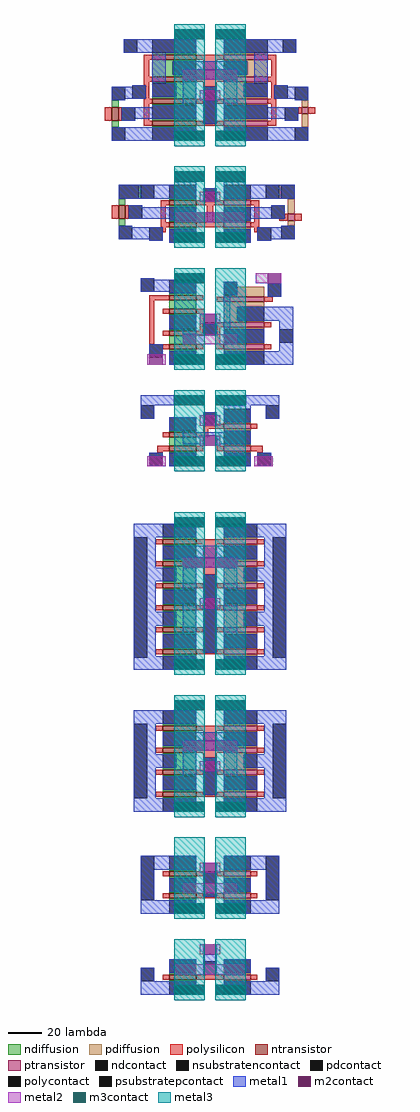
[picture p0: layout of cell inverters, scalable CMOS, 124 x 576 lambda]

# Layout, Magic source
magic
tech scmos
use l_inv_staticizer l_inv_staticizer_0
transform 1 0 22 0 1 455
box -64 59 64 131
use m_inv_staticizer m_inv_staticizer_0
transform 1 0 22 0 1 389
box -59 65 55 113
use m_inv_rhi m_inv_rhi_0
transform 1 0 22 0 1 378
box -42 4 50 64
use s_inv_rhi s_inv_rhi_0
transform 1 0 22 0 1 341
box -42 -19 42 29
use h_inv h_inv_0
transform 1 0 22 0 1 229
box -46 -27 46 69
use l_inv l_inv_0
transform 1 0 22 0 1 -348
box -52 466 52 538
use m_inv m_inv_0
transform 1 0 22 0 1 -473
box -42 531 42 579
use s_inv s_inv_0
transform 1 0 22 0 1 -413
box -42 423 42 459
<< end >>

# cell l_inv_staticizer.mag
magic
tech scmos
<< ndiffusion >>
rect -34 113 -8 114
rect -34 109 -8 110
rect -34 101 -22 109
rect -34 100 -8 101
rect -34 96 -8 97
rect -20 88 -8 96
rect -34 87 -8 88
rect -58 82 -54 86
rect -34 83 -8 84
rect -34 74 -8 75
rect -58 70 -54 74
rect -34 70 -8 71
<< pdiffusion >>
rect 8 113 34 114
rect 8 109 34 110
rect 22 101 34 109
rect 8 100 34 101
rect 8 96 34 97
rect 8 88 20 96
rect 8 87 34 88
rect 8 83 34 84
rect 8 74 34 75
rect 54 82 58 86
rect 8 70 34 71
rect 54 70 58 78
<< ntransistor >>
rect -34 110 -8 113
rect -34 97 -8 100
rect -34 84 -8 87
rect -58 74 -54 82
rect -34 71 -8 74
<< ptransistor >>
rect 8 110 34 113
rect 8 97 34 100
rect 8 84 34 87
rect 54 78 58 82
rect 8 71 34 74
<< polysilicon >>
rect -39 110 -34 113
rect -8 110 8 113
rect 34 110 39 113
rect -39 100 -36 110
rect -4 100 4 110
rect 36 100 39 110
rect -39 97 -34 100
rect -8 97 8 100
rect 34 97 39 100
rect -39 95 -36 97
rect -38 87 -36 95
rect -4 94 4 97
rect -39 84 -34 87
rect -8 84 -4 87
rect -62 74 -58 82
rect -54 74 -52 82
rect -39 74 -36 84
rect -39 71 -34 74
rect -8 72 -4 74
rect 36 95 39 97
rect 36 87 38 95
rect 4 84 8 87
rect 34 84 39 87
rect 36 74 39 84
rect 52 78 54 82
rect 58 78 62 82
rect 4 72 8 74
rect -8 71 8 72
rect 34 71 39 74
<< ndcontact >>
rect -34 114 -8 122
rect -22 101 -8 109
rect -58 86 -50 94
rect -34 88 -20 96
rect -34 75 -8 83
rect -58 62 -50 70
rect -34 62 -8 70
<< pdcontact >>
rect 8 114 34 122
rect 8 101 22 109
rect 20 88 34 96
rect 50 86 58 94
rect 8 75 34 83
rect 8 62 34 70
rect 50 62 58 70
<< psubstratepcontact >>
rect -51 114 -43 122
<< nsubstratencontact >>
rect 43 114 51 122
<< polycontact >>
rect -46 87 -38 95
rect -52 74 -44 82
rect -4 72 4 94
rect 38 87 46 95
rect 44 74 52 82
<< metal1 >>
rect -51 114 -8 122
rect 8 114 51 122
rect -34 96 -26 114
rect -22 104 22 109
rect -22 101 -16 104
rect 16 101 22 104
rect -46 94 -38 95
rect -58 87 -38 94
rect -34 88 -20 96
rect -58 86 -50 87
rect -16 83 -8 98
rect -34 82 -8 83
rect -52 75 -8 82
rect -4 92 4 94
rect -52 74 -44 75
rect -4 72 4 86
rect 8 83 16 98
rect 26 96 34 114
rect 20 88 34 96
rect 38 94 46 95
rect 38 87 58 94
rect 50 86 58 87
rect 8 82 34 83
rect 8 75 52 82
rect 44 74 52 75
rect -58 68 -8 70
rect 8 68 58 70
rect -58 62 -21 68
rect 21 62 58 68
<< m2contact >>
rect -21 122 -3 128
rect 3 122 21 128
rect -16 98 16 104
rect -4 86 4 92
rect -21 62 -3 68
rect 3 62 21 68
<< metal2 >>
rect -16 98 16 104
rect -6 86 6 92
<< m3contact >>
rect -21 122 -3 128
rect 3 122 21 128
rect -21 62 -3 68
rect 3 62 21 68
<< metal3 >>
rect -21 59 -3 131
rect 3 59 21 131
<< labels >>
rlabel ndcontact -16 105 -16 105 1 x
rlabel ndcontact -26 79 -26 79 1 x
rlabel ndcontact -26 66 -26 66 1 GND!
rlabel ndcontact -26 92 -26 92 5 GND!
rlabel ndcontact -26 118 -26 118 5 GND!
rlabel metal1 -54 66 -54 66 1 GND!
rlabel metal1 -42 91 -42 91 1 _x
rlabel pdcontact 16 105 16 105 1 x
rlabel pdcontact 26 79 26 79 1 x
rlabel pdcontact 26 66 26 66 1 Vdd!
rlabel pdcontact 26 92 26 92 5 Vdd!
rlabel pdcontact 26 118 26 118 5 Vdd!
rlabel metal1 54 66 54 66 1 Vdd!
rlabel metal1 42 91 42 91 1 _x
rlabel space -64 61 -22 123 7 ^n
rlabel space 22 61 64 123 3 ^p
rlabel metal1 0 83 0 83 1 _x
rlabel metal2 -12 101 -12 101 1 x
rlabel metal2 12 101 12 101 1 x
rlabel metal2 -6 86 -6 92 3 _x
rlabel metal2 6 86 6 92 7 _x
rlabel metal1 47 118 47 118 1 Vdd!
rlabel metal1 -47 118 -47 118 1 GND!
<< end >>

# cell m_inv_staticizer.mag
magic
tech scmos
<< ndiffusion >>
rect -42 94 -41 102
rect -54 90 -50 94
rect -24 93 -8 94
rect -54 78 -50 82
rect -24 89 -8 90
rect -24 80 -8 81
rect -24 76 -8 77
<< pdiffusion >>
rect 41 94 42 102
rect 8 93 24 94
rect 8 89 24 90
rect 8 80 24 81
rect 46 85 50 94
rect 46 78 50 81
rect 8 76 24 77
<< ntransistor >>
rect -24 90 -8 93
rect -54 82 -50 90
rect -24 77 -8 80
<< ptransistor >>
rect 8 90 24 93
rect 46 81 50 85
rect 8 77 24 80
<< polysilicon >>
rect -29 90 -24 93
rect -8 92 -4 93
rect 4 92 8 93
rect -8 90 8 92
rect 24 90 29 93
rect -58 82 -54 90
rect -50 82 -48 90
rect -29 80 -26 90
rect -2 80 2 90
rect 26 80 29 90
rect 44 82 46 85
rect 41 81 46 82
rect 50 81 54 85
rect -29 77 -24 80
rect -8 77 8 80
rect 24 77 29 80
rect -28 74 -26 77
rect 26 74 28 77
<< ndcontact >>
rect -54 94 -42 102
rect -24 94 -8 102
rect -24 81 -8 89
rect -54 70 -46 78
rect -24 68 -8 76
<< pdcontact >>
rect 8 94 24 102
rect 42 94 50 102
rect 8 81 24 89
rect 8 68 24 76
rect 42 70 50 78
<< psubstratepcontact >>
rect -41 94 -33 102
<< nsubstratencontact >>
rect 33 94 41 102
<< polycontact >>
rect -4 92 4 100
rect -48 82 -40 90
rect 36 82 44 90
rect -36 69 -28 77
rect 28 69 36 77
<< metal1 >>
rect -21 102 -8 104
rect -54 94 -8 102
rect 8 102 21 104
rect -4 98 4 100
rect 8 94 50 102
rect -48 89 -40 90
rect 36 89 44 90
rect -48 86 -8 89
rect 8 86 44 89
rect -48 82 -21 86
rect -24 81 -21 82
rect 21 82 44 86
rect 21 81 24 82
rect -54 77 -46 78
rect 42 77 50 78
rect -54 70 -28 77
rect -36 69 -28 70
rect -24 74 -8 76
rect 8 74 24 76
rect -24 68 -21 74
rect 21 68 24 74
rect 28 70 50 77
rect 28 69 36 70
<< m2contact >>
rect -21 104 -3 110
rect 3 104 21 110
rect -4 92 4 98
rect -21 80 21 86
rect -21 68 -3 74
rect 3 68 21 74
<< metal2 >>
rect -6 92 6 98
rect -21 80 21 86
<< m3contact >>
rect -21 104 -3 110
rect 3 104 21 110
rect -21 68 -3 74
rect 3 68 21 74
<< metal3 >>
rect -21 65 -3 113
rect 3 65 21 113
<< labels >>
rlabel ndcontact -12 72 -12 72 1 GND!
rlabel pdcontact 12 72 12 72 1 Vdd!
rlabel pdcontact 12 98 12 98 5 Vdd!
rlabel ndcontact -12 98 -12 98 5 GND!
rlabel metal1 32 73 32 73 5 _x
rlabel metal1 -32 73 -32 73 5 _x
rlabel metal1 -37 98 -37 98 1 GND!
rlabel metal1 -48 98 -48 98 1 GND!
rlabel metal1 46 98 46 98 5 Vdd!
rlabel metal1 37 98 37 98 1 Vdd!
rlabel space -59 67 -24 103 7 ^n
rlabel metal2 0 80 0 86 1 x
rlabel metal2 0 92 0 98 1 _x
rlabel space 24 67 55 103 3 ^p
<< end >>

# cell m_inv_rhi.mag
magic
tech scmos
<< ndiffusion >>
rect -24 48 -8 49
rect -24 40 -8 45
rect -24 36 -8 37
rect -24 27 -8 28
rect -24 19 -8 24
rect -24 15 -8 16
<< pdiffusion >>
rect 16 48 32 53
rect 8 47 32 48
rect 8 41 32 44
rect 8 33 16 41
rect 8 32 32 33
rect 8 28 32 29
rect 8 19 32 20
rect 8 15 32 16
<< ntransistor >>
rect -24 45 -8 48
rect -24 37 -8 40
rect -24 24 -8 27
rect -24 16 -8 19
<< ptransistor >>
rect 8 44 32 47
rect 8 29 32 32
rect 8 16 32 19
<< polysilicon >>
rect -36 45 -24 48
rect -8 45 -4 48
rect -36 19 -33 45
rect 4 44 8 47
rect 32 44 37 47
rect -28 37 -24 40
rect -8 37 -3 40
rect -6 32 -3 37
rect -6 27 -4 32
rect -28 24 -24 27
rect -8 24 -4 27
rect 4 29 8 32
rect 32 29 36 32
rect 4 24 6 29
rect 3 19 6 24
rect -28 16 -24 19
rect -8 16 -4 19
rect 3 16 8 19
rect 32 16 36 19
<< ndcontact >>
rect -24 49 -8 57
rect -24 28 -8 36
rect -24 7 -8 15
<< pdcontact >>
rect 8 48 16 56
rect 16 33 32 41
rect 8 20 32 28
rect 8 7 32 15
<< psubstratepcontact >>
rect -41 50 -33 58
<< nsubstratencontact >>
rect 41 20 49 28
<< polycontact >>
rect 34 47 42 55
rect -4 24 4 32
rect -36 11 -28 19
<< metal1 >>
rect -41 57 -33 58
rect -41 55 -21 57
rect -41 50 -8 55
rect -24 49 -8 50
rect 8 48 16 56
rect -24 28 -8 36
rect -16 25 -8 28
rect -4 24 4 31
rect 8 28 12 48
rect 34 47 42 55
rect 16 33 49 41
rect 8 25 32 28
rect 16 20 32 25
rect -36 13 -28 19
rect 41 15 49 33
rect -24 13 -8 15
rect 8 13 49 15
rect -24 7 -21 13
rect 21 7 49 13
<< m2contact >>
rect -21 55 -3 61
rect 34 55 42 61
rect -16 19 -8 25
rect -4 31 4 37
rect 8 19 16 25
rect -36 7 -28 13
rect -21 7 -3 13
rect 3 7 21 13
<< metal2 >>
rect 27 55 42 61
rect -6 31 6 37
rect -16 19 16 25
rect -37 7 -26 13
<< m3contact >>
rect -21 55 -3 61
rect -21 7 -3 13
rect 3 7 21 13
<< metal3 >>
rect -21 4 -3 64
rect 3 4 21 64
<< labels >>
rlabel ndcontact -12 53 -12 53 5 GND!
rlabel ndcontact -12 11 -12 11 1 GND!
rlabel pdcontact 11 11 11 11 1 Vdd!
rlabel polysilicon -25 17 -25 17 3 _SReset!
rlabel polysilicon -25 47 -25 47 3 _SReset!
rlabel pdcontact 12 52 12 52 5 x
rlabel polysilicon 33 45 33 45 1 _PReset!
rlabel metal2 12 22 12 22 1 x
rlabel metal2 -12 22 -12 22 1 x
rlabel metal2 -6 31 -6 37 3 a
rlabel metal2 6 31 6 37 7 a
rlabel pdcontact 24 37 24 37 5 Vdd!
rlabel metal1 0 28 0 28 1 a
rlabel metal2 -32 10 -32 10 3 _SReset!
rlabel metal2 -26 7 -26 13 3 ^n
rlabel metal1 -37 54 -37 54 3 GND!
rlabel space -42 6 -24 59 7 ^n
rlabel space 31 6 50 37 3 ^p
rlabel metal1 45 24 45 24 7 Vdd!
rlabel metal2 38 58 38 58 6 _PReset!
<< end >>

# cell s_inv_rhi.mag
magic
tech scmos
<< ndiffusion >>
rect -24 4 -8 5
rect -24 -4 -8 1
rect -24 -8 -8 -7
<< pdiffusion >>
rect 8 9 24 10
rect 8 5 24 6
rect 8 -4 24 -3
rect 8 -8 24 -7
<< ntransistor >>
rect -24 1 -8 4
rect -24 -7 -8 -4
<< ptransistor >>
rect 8 6 24 9
rect 8 -7 24 -4
<< polysilicon >>
rect 4 8 8 9
rect -4 6 8 8
rect 24 6 28 9
rect -4 4 -1 6
rect -28 1 -24 4
rect -8 1 -1 4
rect -31 -7 -24 -4
rect -8 -7 -4 -4
rect 4 -7 8 -4
rect 24 -7 31 -4
rect -31 -8 -28 -7
rect 28 -8 31 -7
<< ndcontact >>
rect -24 5 -8 13
rect -24 -16 -8 -8
<< pdcontact >>
rect 8 10 24 18
rect 8 -3 24 5
rect 8 -16 24 -8
<< psubstratepcontact >>
rect -41 12 -33 20
<< nsubstratencontact >>
rect 33 12 41 20
<< polycontact >>
rect -4 8 4 16
rect -36 -16 -28 -8
rect 28 -16 36 -8
<< metal1 >>
rect -41 20 -21 26
rect 21 20 41 26
rect -41 12 -33 20
rect -4 14 4 16
rect -24 5 -8 13
rect 8 10 24 20
rect 33 12 41 20
rect -16 4 -8 5
rect 8 4 24 5
rect -16 2 24 4
rect -16 -3 -4 2
rect 4 -3 24 2
rect -36 -10 -28 -8
rect -24 -10 -8 -8
rect 8 -10 24 -8
rect -24 -16 -21 -10
rect 21 -16 24 -10
rect 28 -10 36 -8
<< m2contact >>
rect -21 20 -3 26
rect 3 20 21 26
rect -4 8 4 14
rect -4 -4 4 2
rect -36 -16 -28 -10
rect -21 -16 -3 -10
rect 3 -16 21 -10
rect 28 -16 36 -10
<< metal2 >>
rect -6 8 6 14
rect -6 -4 6 2
rect -37 -16 -26 -10
rect 26 -16 37 -10
<< m3contact >>
rect -21 20 -3 26
rect 3 20 21 26
rect -21 -16 -3 -10
rect 3 -16 21 -10
<< metal3 >>
rect -21 -19 -3 29
rect 3 -19 21 29
<< labels >>
rlabel metal2 6 8 6 14 7 a
rlabel metal2 -6 8 -6 14 3 a
rlabel ndcontact -12 9 -12 9 4 x
rlabel pdcontact 12 -12 12 -12 5 Vdd!
rlabel polysilicon 25 -6 25 -6 1 _PReset!
rlabel pdcontact 12 1 12 1 7 x
rlabel pdcontact 12 14 12 14 5 Vdd!
rlabel ndcontact -12 -12 -12 -12 5 GND!
rlabel polysilicon -25 -6 -25 -6 3 _SReset!
rlabel metal2 6 -4 6 2 7 x
rlabel metal2 -6 -4 -6 2 3 x
rlabel metal2 -31 -13 -31 -13 1 _SReset!
rlabel metal2 31 -13 31 -13 7 _PReset!
rlabel metal2 -26 -16 -26 -10 3 ^n
rlabel metal2 26 -16 26 -10 7 ^p
rlabel metal1 -37 16 -37 16 3 GND!
rlabel metal1 37 16 37 16 7 Vdd!
rlabel space 24 -17 42 27 3 ^p
rlabel space -42 -17 -24 27 7 ^n
<< end >>

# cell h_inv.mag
magic
tech scmos
<< ndiffusion >>
rect -28 53 -8 54
rect -28 49 -8 50
rect -28 40 -8 41
rect -28 36 -8 37
rect -20 28 -8 36
rect -28 27 -8 28
rect -28 23 -8 24
rect -28 14 -8 15
rect -28 10 -8 11
rect -20 2 -8 10
rect -28 1 -8 2
rect -28 -3 -8 -2
rect -28 -12 -8 -11
rect -28 -16 -8 -15
<< pdiffusion >>
rect 8 53 28 54
rect 8 49 28 50
rect 8 40 28 41
rect 8 36 28 37
rect 8 28 20 36
rect 8 27 28 28
rect 8 23 28 24
rect 8 14 28 15
rect 8 10 28 11
rect 8 2 20 10
rect 8 1 28 2
rect 8 -3 28 -2
rect 8 -12 28 -11
rect 8 -16 28 -15
<< ntransistor >>
rect -28 50 -8 53
rect -28 37 -8 40
rect -28 24 -8 27
rect -28 11 -8 14
rect -28 -2 -8 1
rect -28 -15 -8 -12
<< ptransistor >>
rect 8 50 28 53
rect 8 37 28 40
rect 8 24 28 27
rect 8 11 28 14
rect 8 -2 28 1
rect 8 -15 28 -12
<< polysilicon >>
rect -32 50 -28 53
rect -8 50 8 53
rect 28 50 32 53
rect -4 40 4 50
rect -32 37 -28 40
rect -8 37 8 40
rect 28 37 32 40
rect -4 32 4 37
rect -32 24 -28 27
rect -8 24 -4 27
rect -32 11 -28 14
rect -8 11 -4 14
rect -32 -2 -28 1
rect -8 -2 -4 1
rect -32 -15 -28 -12
rect -8 -14 -4 -12
rect 4 24 8 27
rect 28 24 32 27
rect 4 11 8 14
rect 28 11 32 14
rect 4 -2 8 1
rect 28 -2 32 1
rect 4 -14 8 -12
rect -8 -15 8 -14
rect 28 -15 32 -12
<< ndcontact >>
rect -28 54 -8 62
rect -28 41 -8 49
rect -28 28 -20 36
rect -28 15 -8 23
rect -28 2 -20 10
rect -28 -11 -8 -3
rect -28 -24 -8 -16
<< pdcontact >>
rect 8 54 28 62
rect 8 41 28 49
rect 20 28 28 36
rect 8 15 28 23
rect 20 2 28 10
rect 8 -11 28 -3
rect 8 -24 28 -16
<< psubstratepcontact >>
rect -45 -17 -37 54
<< nsubstratencontact >>
rect 37 -17 45 54
<< polycontact >>
rect -4 -14 4 32
<< metal1 >>
rect -45 60 -21 62
rect 21 60 45 62
rect -45 54 -8 60
rect 8 54 45 60
rect -45 36 -32 54
rect -28 42 28 49
rect -28 41 -16 42
rect 16 41 28 42
rect 32 36 45 54
rect -45 28 -20 36
rect -45 10 -32 28
rect -16 23 -8 36
rect -28 15 -8 23
rect -45 2 -20 10
rect -45 -16 -32 2
rect -16 -3 -8 15
rect -28 -11 -8 -3
rect -4 18 4 32
rect -4 -14 4 12
rect 8 23 16 36
rect 20 28 45 36
rect 8 15 28 23
rect 8 -3 16 15
rect 32 10 45 28
rect 20 2 45 10
rect 8 -11 28 -3
rect 32 -16 45 2
rect -45 -18 -8 -16
rect 8 -18 45 -16
rect -45 -24 -21 -18
rect 21 -24 45 -18
<< m2contact >>
rect -21 60 -3 66
rect 3 60 21 66
rect -16 36 16 42
rect -4 12 4 18
rect -21 -24 -3 -18
rect 3 -24 21 -18
<< metal2 >>
rect -16 36 16 42
rect -6 12 6 18
<< m3contact >>
rect -21 60 -3 66
rect 3 60 21 66
rect -21 -24 -3 -18
rect 3 -24 21 -18
<< metal3 >>
rect -21 -27 -3 69
rect 3 -27 21 69
<< labels >>
rlabel ndcontact -16 19 -16 19 1 x
rlabel ndcontact -16 -7 -16 -7 1 x
rlabel ndcontact -16 45 -16 45 1 x
rlabel pdcontact 16 19 16 19 1 x
rlabel pdcontact 16 -7 16 -7 1 x
rlabel pdcontact 16 45 16 45 1 x
rlabel metal2 -16 36 -16 42 3 x
rlabel metal2 16 36 16 42 7 x
rlabel metal2 6 12 6 18 7 a
rlabel metal2 -6 12 -6 18 3 a
rlabel metal1 0 5 0 5 1 a
rlabel ndcontact -24 6 -24 6 5 GND!
rlabel ndcontact -24 32 -24 32 5 GND!
rlabel ndcontact -24 58 -24 58 5 GND!
rlabel ndcontact -24 -20 -24 -20 1 GND!
rlabel metal1 -41 20 -41 20 3 GND!
rlabel space -46 -25 -27 63 7 ^n
rlabel pdcontact 24 -20 24 -20 1 Vdd!
rlabel pdcontact 24 6 24 6 5 Vdd!
rlabel pdcontact 24 32 24 32 5 Vdd!
rlabel pdcontact 24 58 24 58 5 Vdd!
rlabel metal1 41 20 41 20 7 Vdd!
rlabel space 27 -25 46 63 3 ^p
<< end >>

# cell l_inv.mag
magic
tech scmos
<< ndiffusion >>
rect -28 520 -8 521
rect -28 516 -8 517
rect -28 507 -8 508
rect -28 503 -8 504
rect -20 495 -8 503
rect -28 494 -8 495
rect -28 490 -8 491
rect -28 481 -8 482
rect -28 477 -8 478
<< pdiffusion >>
rect 8 520 28 521
rect 8 516 28 517
rect 8 507 28 508
rect 8 503 28 504
rect 8 495 20 503
rect 8 494 28 495
rect 8 490 28 491
rect 8 481 28 482
rect 8 477 28 478
<< ntransistor >>
rect -28 517 -8 520
rect -28 504 -8 507
rect -28 491 -8 494
rect -28 478 -8 481
<< ptransistor >>
rect 8 517 28 520
rect 8 504 28 507
rect 8 491 28 494
rect 8 478 28 481
<< polysilicon >>
rect -32 517 -28 520
rect -8 517 8 520
rect 28 517 32 520
rect -4 507 4 517
rect -32 504 -28 507
rect -8 504 8 507
rect 28 504 32 507
rect -4 501 4 504
rect -32 491 -28 494
rect -8 491 -4 494
rect -32 478 -28 481
rect -8 479 -4 481
rect 4 491 8 494
rect 28 491 32 494
rect 4 479 8 481
rect -8 478 8 479
rect 28 478 32 481
<< ndcontact >>
rect -28 521 -8 529
rect -28 508 -8 516
rect -28 495 -20 503
rect -28 482 -8 490
rect -28 469 -8 477
<< pdcontact >>
rect 8 521 28 529
rect 8 508 28 516
rect 20 495 28 503
rect 8 482 28 490
rect 8 469 28 477
<< psubstratepcontact >>
rect -45 477 -37 521
<< nsubstratencontact >>
rect 37 477 45 521
<< polycontact >>
rect -4 479 4 501
<< metal1 >>
rect -45 521 -8 529
rect 8 521 45 529
rect -45 503 -32 521
rect -28 511 28 516
rect -28 508 -16 511
rect 16 508 28 511
rect -45 495 -20 503
rect -45 477 -32 495
rect -16 490 -8 505
rect -28 482 -8 490
rect -4 499 4 501
rect -4 479 4 493
rect 8 490 16 505
rect 32 503 45 521
rect 20 495 45 503
rect 8 482 28 490
rect 32 477 45 495
rect -45 475 -8 477
rect 8 475 45 477
rect -45 469 -21 475
rect 21 469 45 475
<< m2contact >>
rect -21 529 -3 535
rect 3 529 21 535
rect -16 505 16 511
rect -4 493 4 499
rect -21 469 -3 475
rect 3 469 21 475
<< metal2 >>
rect -16 505 16 511
rect -6 493 6 499
<< m3contact >>
rect -21 529 -3 535
rect 3 529 21 535
rect -21 469 -3 475
rect 3 469 21 475
<< metal3 >>
rect -21 466 -3 538
rect 3 466 21 538
<< labels >>
rlabel ndcontact -15 512 -15 512 1 x
rlabel ndcontact -15 486 -15 486 1 x
rlabel pdcontact 16 512 16 512 1 x
rlabel pdcontact 16 486 16 486 1 x
rlabel space -52 468 -22 530 7 ^n
rlabel space 22 468 52 530 3 ^p
rlabel metal2 0 505 0 511 1 x
rlabel metal2 0 493 0 499 1 a
rlabel ndcontact -27 473 -27 473 1 GND!
rlabel ndcontact -27 499 -27 499 5 GND!
rlabel ndcontact -27 525 -27 525 5 GND!
rlabel metal1 -41 499 -41 499 3 GND!
rlabel pdcontact 26 473 26 473 1 Vdd!
rlabel pdcontact 26 499 26 499 5 Vdd!
rlabel pdcontact 26 525 26 525 5 Vdd!
rlabel metal1 41 499 41 499 7 Vdd!
<< end >>

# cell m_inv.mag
magic
tech scmos
<< ndiffusion >>
rect -24 559 -8 560
rect -24 555 -8 556
rect -24 546 -8 547
rect -24 542 -8 543
<< pdiffusion >>
rect 8 559 24 560
rect 8 555 24 556
rect 8 546 24 547
rect 8 542 24 543
<< ntransistor >>
rect -24 556 -8 559
rect -24 543 -8 546
<< ptransistor >>
rect 8 556 24 559
rect 8 543 24 546
<< polysilicon >>
rect -28 556 -24 559
rect -8 556 -4 559
rect -28 543 -24 546
rect -8 544 -4 546
rect 4 556 8 559
rect 24 556 28 559
rect 4 544 8 546
rect -8 543 8 544
rect 24 543 28 546
<< ndcontact >>
rect -24 560 -8 568
rect -24 547 -8 555
rect -24 534 -8 542
<< pdcontact >>
rect 8 560 24 568
rect 8 547 24 555
rect 8 534 24 542
<< psubstratepcontact >>
rect -41 542 -33 568
<< nsubstratencontact >>
rect 33 542 41 568
<< polycontact >>
rect -4 544 4 559
<< metal1 >>
rect -41 560 -8 568
rect -41 542 -33 560
rect 8 560 41 568
rect -24 552 -8 555
rect -24 547 -16 552
rect -4 544 4 558
rect 8 552 24 555
rect 16 547 24 552
rect 33 542 41 560
rect -41 540 -8 542
rect 8 540 41 542
rect -41 534 -21 540
rect 21 534 41 540
<< m2contact >>
rect -4 558 4 564
rect -16 546 -8 552
rect 8 546 16 552
rect -21 534 -3 540
rect 3 534 21 540
<< metal2 >>
rect -6 558 6 564
rect -16 546 16 552
<< m3contact >>
rect -21 534 -3 540
rect 3 534 21 540
<< metal3 >>
rect -21 531 -3 579
rect 3 531 21 579
<< labels >>
rlabel ndcontact -12 538 -12 538 1 GND!
rlabel pdcontact 12 538 12 538 1 Vdd!
rlabel pdcontact 12 564 12 564 5 Vdd!
rlabel ndcontact -12 564 -12 564 5 GND!
rlabel polysilicon -25 557 -25 557 3 a
rlabel polysilicon -25 544 -25 544 3 a
rlabel metal2 6 558 6 564 7 a
rlabel metal2 -6 558 -6 564 3 a
rlabel polysilicon 25 557 25 557 7 a
rlabel polysilicon 25 545 25 545 7 a
rlabel metal2 -12 549 -12 549 1 x
rlabel metal2 12 549 12 549 1 x
rlabel metal1 37 564 37 564 7 Vdd!
rlabel space 23 533 42 569 3 ^p
rlabel metal1 -37 564 -37 564 3 GND!
rlabel space -42 533 -23 569 7 ^n
<< end >>

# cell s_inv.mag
magic
tech scmos
<< ndiffusion >>
rect -24 438 -8 439
rect -24 434 -8 435
<< pdiffusion >>
rect 8 438 24 439
rect 8 434 24 435
<< ntransistor >>
rect -24 435 -8 438
<< ptransistor >>
rect 8 435 24 438
<< polysilicon >>
rect -28 435 -24 438
rect -8 435 8 438
rect 24 435 28 438
<< ndcontact >>
rect -24 439 -8 447
rect -24 426 -8 434
<< pdcontact >>
rect 8 439 24 447
rect 8 426 24 434
<< psubstratepcontact >>
rect -41 434 -33 442
<< nsubstratencontact >>
rect 33 434 41 442
<< polycontact >>
rect -4 438 4 446
<< metal1 >>
rect -24 444 -8 447
rect -41 434 -33 442
rect -24 439 -21 444
rect -4 438 4 450
rect 8 444 24 447
rect 21 439 24 444
rect 33 434 41 442
rect -41 432 -8 434
rect 8 432 41 434
rect -41 426 -21 432
rect 21 426 41 432
<< m2contact >>
rect -4 450 4 456
rect -21 438 -8 444
rect 8 438 21 444
rect -21 426 -3 432
rect 3 426 21 432
<< metal2 >>
rect -6 450 6 456
rect -21 438 21 444
<< m3contact >>
rect -21 426 -3 432
rect 3 426 21 432
<< metal3 >>
rect -21 423 -3 459
rect 3 423 21 459
<< labels >>
rlabel metal2 6 450 6 456 7 a
rlabel metal2 -6 450 -6 456 3 a
rlabel polysilicon 0 436 0 436 1 a
rlabel pdcontact 12 430 12 430 8 Vdd!
rlabel ndcontact -12 430 -12 430 2 GND!
rlabel metal2 12 441 12 441 1 x
rlabel metal2 -12 441 -12 441 1 x
rlabel metal1 37 438 37 438 7 Vdd!
rlabel space 23 425 42 448 3 ^p
rlabel metal1 -37 438 -37 438 3 GND!
rlabel space -42 425 -23 448 7 ^n
<< end >>
